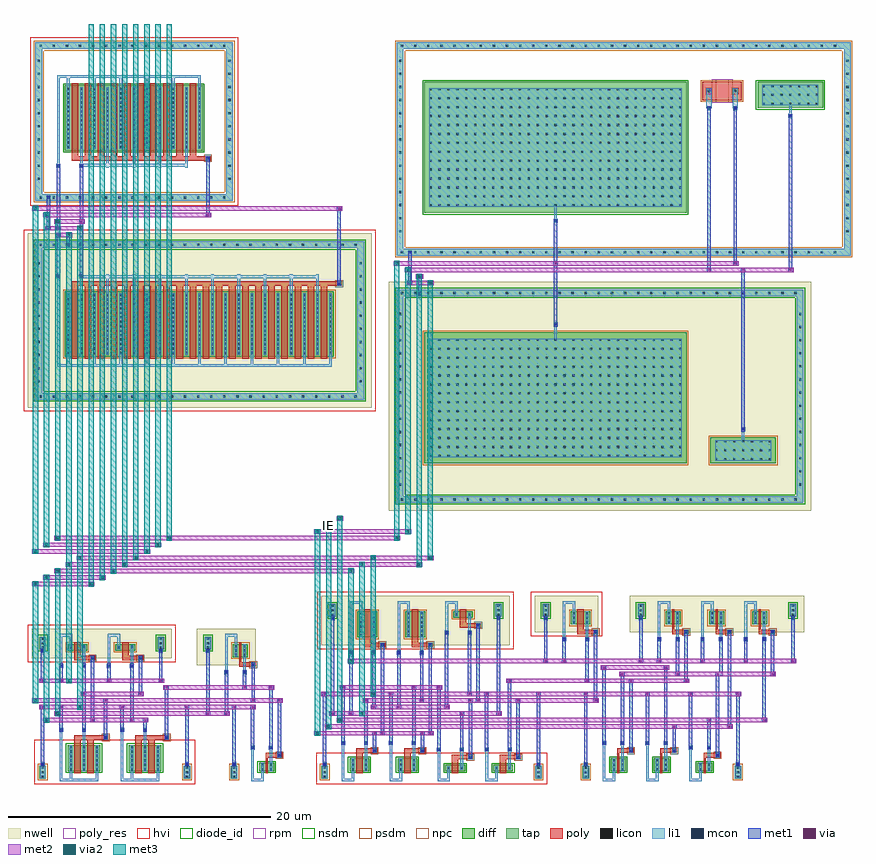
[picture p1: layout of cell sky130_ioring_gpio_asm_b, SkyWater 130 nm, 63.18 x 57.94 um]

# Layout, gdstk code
import gdstk
lib = gdstk.Library(unit=1e-6, precision=1e-09)
def R(c, l, rs):  # rectangles x0, y0, x1, y1
    for r in rs: c.add(gdstk.rectangle(r[:2], r[2:], *l))
def A(c, l, x, y, w, h, nx, ny, dx, dy):  # array of equal rectangles
    R(c, l, [(x+i*dx, y+j*dy, x+i*dx+w, y+j*dy+h) for i in range(nx) for j in range(ny)])
nwell = (64, 20)
diff = (65, 20)
tap = (65, 44)
poly_res = (66, 13)
poly = (66, 20)
licon = (66, 44)
li1 = (67, 20)
mcon = (67, 44)
met1 = (68, 20)
via = (68, 44)
met2 = (69, 20)
via2 = (69, 44)
met3 = (70, 20)
hvi = (75, 20)
diode_id = (81, 23)
rpm = (86, 20)
nsdm = (93, 44)
psdm = (94, 20)
npc = (95, 20)

sky130_ioring_gpio_ls = lib.new_cell('sky130_ioring_gpio_ls')
R(sky130_ioring_gpio_ls, nwell, [(13,9.57,17.5,12.34), (0.4,10.07,11.1,12.34)])
R(sky130_ioring_gpio_ls, diff, [(3.15,1.47,5.65,3.47), (7.8,1.47,10.3,3.47), (17.75,1.47,18.9,2.12), (15.75,10.17,16.9,11.17), (3.15,10.67,4.65,11.17), (6.8,10.67,8.3,11.17)])
R(sky130_ioring_gpio_ls, tap, [(1,0.9,1.5,1.9), (12,0.9,12.5,1.9), (15.6,0.9,16.1,1.9), (1,10.74,1.5,11.74), (10,10.74,10.5,11.74), (13.6,10.74,14.1,11.74)])
R(sky130_ioring_gpio_ls, poly, [(3.65,1.32,4.15,3.87), (4.65,1.32,5.15,3.87), (8.3,1.32,8.8,3.87), (9.3,1.32,9.8,3.87), (18.25,1.32,18.4,2.52), (18.25,2.52,19.5,2.87), (3.65,3.87,6.25,4.22), (8.3,3.87,10.9,4.22), (16.25,9.42,17.5,9.77), (16.25,9.77,16.4,11.32), (3.65,9.92,5.25,10.27), (7.3,9.92,8.9,10.27), (3.65,10.27,4.15,11.32), (7.3,10.27,7.8,11.32)])
A(sky130_ioring_gpio_ls, licon, 1.165, 0.975, 0.17, 0.17, 1, 3, 0, 0.34)
A(sky130_ioring_gpio_ls, licon, 12.165, 0.975, 0.17, 0.17, 1, 3, 0, 0.34)
A(sky130_ioring_gpio_ls, licon, 15.765, 0.975, 0.17, 0.17, 1, 3, 0, 0.34)
A(sky130_ioring_gpio_ls, licon, 3.315, 1.535, 0.17, 0.17, 3, 6, 1, 0.34)
A(sky130_ioring_gpio_ls, licon, 7.965, 1.535, 0.17, 0.17, 3, 6, 1, 0.34)
A(sky130_ioring_gpio_ls, licon, 15.915, 10.245, 0.17, 0.17, 1, 3, 0, 0.34)
A(sky130_ioring_gpio_ls, licon, 16.565, 10.245, 0.17, 0.17, 1, 3, 0, 0.34)
A(sky130_ioring_gpio_ls, licon, 1.165, 10.815, 0.17, 0.17, 1, 3, 0, 0.34)
A(sky130_ioring_gpio_ls, licon, 10.165, 10.815, 0.17, 0.17, 1, 3, 0, 0.34)
A(sky130_ioring_gpio_ls, licon, 13.765, 10.815, 0.17, 0.17, 1, 3, 0, 0.34)
R(sky130_ioring_gpio_ls, licon, [(17.915,1.54,18.085,1.71), (18.565,1.54,18.735,1.71), (17.915,1.88,18.085,2.05), (18.565,1.88,18.735,2.05), (19.215,2.61,19.385,2.78), (5.965,3.96,6.135,4.13), (10.615,3.96,10.785,4.13), (17.215,9.51,17.385,9.68), (4.965,10.01,5.135,10.18), (8.615,10.01,8.785,10.18), (3.315,10.835,3.485,11.005), (4.315,10.835,4.485,11.005), (6.965,10.835,7.135,11.005), (7.965,10.835,8.135,11.005)])
R(sky130_ioring_gpio_ls, li1, [(2.55,0.7,5.5,0.9), (2.55,0.7,2.75,4.77), (3.3,0.7,3.5,3.465), (5.3,0.7,5.5,3.465), (7.2,0.7,10.15,0.9), (7.2,0.7,7.4,4.77), (7.95,0.7,8.15,3.465), (9.95,0.7,10.15,3.465), (17.15,0.7,18.1,0.9), (17.15,0.7,17.35,3.42), (17.9,0.7,18.1,2.11), (1.05,0.95,1.45,1.85), (12.05,0.95,12.45,1.85), (15.65,0.95,16.05,1.85), (4.3,1.475,4.5,4.77), (8.95,1.475,9.15,4.77), (18.55,1.48,18.75,3.42), (1.1,1.85,1.4,2.15), (12.1,1.85,12.4,2.15), (15.7,1.85,16,2.15), (19.15,2.52,19.45,2.87), (17.1,3.12,17.4,3.42), (18.5,3.12,18.8,3.42), (18.55,3.12,18.75,3.32), (5.9,3.87,6.2,4.22), (10.55,3.87,10.85,4.22), (2.5,4.47,2.8,4.77), (4.25,4.47,4.55,4.77), (4.3,4.47,4.5,4.67), (7.15,4.47,7.45,4.77), (8.9,4.47,9.2,4.77), (8.95,4.47,9.15,4.67), (15.1,8.87,15.4,9.17), (15.15,8.87,15.35,11.94), (16.5,8.87,16.8,9.17), (16.55,8.87,16.75,11.155), (16.55,8.97,16.75,9.17), (2.5,9.37,2.8,9.67), (2.55,9.37,2.75,11.94), (4.25,9.37,4.55,9.67), (4.3,9.37,4.5,11.065), (6.15,9.37,6.45,9.67), (6.2,9.37,6.4,11.94), (7.9,9.37,8.2,9.67), (7.95,9.37,8.15,11.065), (17.15,9.42,17.45,9.77), (4.3,9.47,4.5,9.67), (7.95,9.47,8.15,9.67), (4.9,9.92,5.2,10.27), (8.55,9.92,8.85,10.27), (15.9,10.185,16.1,11.94), (1.1,10.49,1.4,10.79), (10.1,10.49,10.4,10.79), (13.7,10.49,14,10.79), (3.3,10.775,3.5,11.94), (6.95,10.775,7.15,11.94), (1.05,10.79,1.45,11.69), (10.05,10.79,10.45,11.69), (13.65,10.79,14.05,11.69), (2.55,11.74,3.5,11.94), (6.2,11.74,7.15,11.94), (15.15,11.74,16.1,11.94)])
R(sky130_ioring_gpio_ls, mcon, [(1.165,1.915,1.335,2.085), (12.165,1.915,12.335,2.085), (15.765,1.915,15.935,2.085), (19.215,2.61,19.385,2.78), (17.165,3.185,17.335,3.355), (18.565,3.185,18.735,3.355), (5.965,3.96,6.135,4.13), (10.615,3.96,10.785,4.13), (2.565,4.535,2.735,4.705), (4.315,4.535,4.485,4.705), (7.215,4.535,7.385,4.705), (8.965,4.535,9.135,4.705), (15.165,8.935,15.335,9.105), (16.565,8.935,16.735,9.105), (2.565,9.435,2.735,9.605), (4.315,9.435,4.485,9.605), (6.215,9.435,6.385,9.605), (7.965,9.435,8.135,9.605), (17.215,9.51,17.385,9.68), (4.965,10.01,5.135,10.18), (8.615,10.01,8.785,10.18), (1.165,10.555,1.335,10.725), (10.165,10.555,10.335,10.725), (13.765,10.555,13.935,10.725)])
R(sky130_ioring_gpio_ls, met1, [(1.12,1.87,1.38,6.54), (12.12,1.87,12.38,6.54), (15.72,1.87,15.98,6.54), (19.17,2.565,19.43,7.04), (17.12,3.14,17.38,6.54), (18.52,3.14,18.78,8.04), (5.92,3.915,6.18,7.04), (10.57,3.915,10.83,8.04), (2.52,4.49,2.78,6.54), (4.27,4.49,4.53,7.54), (7.17,4.49,7.43,6.54), (8.92,4.49,9.18,5.54), (4.88,5.2,5.22,5.54), (7.88,5.2,8.22,5.54), (8.88,5.2,9.22,5.54), (4.92,5.24,5.18,10.265), (7.92,5.24,8.18,9.69), (13.68,5.7,14.02,6.04), (15.08,5.7,15.42,6.04), (13.72,5.74,13.98,10.81), (15.12,5.74,15.38,9.19), (1.08,6.2,1.42,6.54), (2.48,6.2,2.82,6.54), (7.13,6.2,7.47,6.54), (12.08,6.2,12.42,6.54), (15.68,6.2,16.02,6.54), (17.08,6.2,17.42,6.54), (5.88,6.7,6.22,7.04), (17.13,6.7,17.47,7.04), (19.13,6.7,19.47,7.04), (17.17,6.74,17.43,9.765), (4.23,7.2,4.57,7.54), (8.53,7.2,8.87,7.54), (4.27,7.24,4.53,9.69), (8.57,7.24,8.83,10.265), (10.53,7.7,10.87,8.04), (16.48,7.7,16.82,8.04), (18.48,7.7,18.82,8.04), (16.52,7.74,16.78,9.19), (1.08,8.2,1.42,8.54), (2.48,8.2,2.82,8.54), (6.13,8.2,6.47,8.54), (10.08,8.2,10.42,8.54), (1.12,8.24,1.38,10.81), (2.52,8.24,2.78,9.69), (6.17,8.24,6.43,9.69), (10.12,8.24,10.38,10.81)])
R(sky130_ioring_gpio_ls, via, [(4.975,5.295,5.125,5.445), (7.975,5.295,8.125,5.445), (8.975,5.295,9.125,5.445), (13.775,5.795,13.925,5.945), (15.175,5.795,15.325,5.945), (1.175,6.295,1.325,6.445), (2.575,6.295,2.725,6.445), (7.225,6.295,7.375,6.445), (12.175,6.295,12.325,6.445), (15.775,6.295,15.925,6.445), (17.175,6.295,17.325,6.445), (5.975,6.795,6.125,6.945), (17.225,6.795,17.375,6.945), (19.225,6.795,19.375,6.945), (4.325,7.295,4.475,7.445), (8.625,7.295,8.775,7.445), (10.625,7.795,10.775,7.945), (16.575,7.795,16.725,7.945), (18.575,7.795,18.725,7.945), (1.175,8.295,1.325,8.445), (2.575,8.295,2.725,8.445), (6.225,8.295,6.375,8.445), (10.175,8.295,10.325,8.445)])
R(sky130_ioring_gpio_ls, met2, [(1.3,5.2,9.3,5.54), (2.15,5.7,15.5,6.04), (1,6.2,17.5,6.54), (0.45,6.7,19.55,7.04), (4.15,7.2,8.95,7.54), (10.45,7.7,18.9,8.04), (1,8.2,10.5,8.54)])
R(sky130_ioring_gpio_ls, via2, [(1.45,5.27,1.65,5.47), (2.3,5.77,2.5,5.97), (4,6.27,4.2,6.47), (0.6,6.77,0.8,6.97), (3.15,8.27,3.35,8.47)])
R(sky130_ioring_gpio_ls, met3, [(1.35,5.17,1.75,12.64), (2.2,5.67,2.6,12.64), (3.9,6.17,4.3,12.64), (0.5,6.67,0.9,12.64), (3.05,8.17,3.45,12.64)])
R(sky130_ioring_gpio_ls, hvi, [(0.6,0.5,12.9,3.87), (0.1,9.77,11.4,12.64)])
R(sky130_ioring_gpio_ls, nsdm, [(3.025,1.345,5.775,3.595), (7.675,1.345,10.425,3.595), (17.625,1.345,19.025,2.245), (0.875,10.615,1.625,11.865), (9.875,10.615,10.625,11.865), (13.475,10.615,14.225,11.865)])
R(sky130_ioring_gpio_ls, psdm, [(0.875,0.775,1.625,2.025), (11.875,0.775,12.625,2.025), (15.475,0.775,16.225,2.025), (15.625,10.045,17.025,11.295), (3.025,10.545,4.775,11.295), (6.675,10.545,8.425,11.295)])
R(sky130_ioring_gpio_ls, npc, [(19,2.42,19.6,2.97), (5.75,3.77,6.35,4.32), (10.4,3.77,11,4.32), (17,9.32,17.6,9.87), (4.75,9.82,5.35,10.37), (8.4,9.82,9,10.37)])

sky130_ioring_gpio_rcv = lib.new_cell('sky130_ioring_gpio_rcv')
R(sky130_ioring_gpio_rcv, nwell, [(1,11.07,15.35,14.84), (17.25,12.07,22.1,14.84), (24.5,12.07,37.8,14.84)])
A(sky130_ioring_gpio_rcv, diff, 27.25, 12.67, 1.15, 1, 3, 1, 3.3, 0)
R(sky130_ioring_gpio_rcv, diff, [(3.15,1.47,4.65,2.47), (6.8,1.47,8.3,2.47), (10.45,1.47,11.95,1.97), (14.1,1.47,15.6,1.97), (23.05,1.47,24.2,2.47), (26.35,1.47,27.5,2.47), (29.65,1.47,30.8,2.12), (3.75,11.67,5.25,13.67), (7.4,11.67,8.9,13.67), (20,12.67,21.5,13.67), (11.05,13.17,12.55,13.67)])
R(sky130_ioring_gpio_rcv, tap, [(1,0.9,1.5,1.9), (17.3,0.9,17.8,1.9), (20.9,0.9,21.4,1.9), (32.5,0.9,33,1.9), (1.6,13.24,2.1,14.24), (14.25,13.24,14.75,14.24), (17.85,13.24,18.35,14.24), (25.1,13.24,25.6,14.24), (36.7,13.24,37.2,14.24)])
A(sky130_ioring_gpio_rcv, poly, 27.75, 11.92, 1.25, 0.35, 3, 1, 3.3, 0)
A(sky130_ioring_gpio_rcv, poly, 27.75, 12.27, 0.15, 1.55, 3, 1, 3.3, 0)
R(sky130_ioring_gpio_rcv, poly, [(3.65,1.32,4.15,2.87), (7.3,1.32,7.8,2.87), (10.95,1.32,11.45,2.37), (14.6,1.32,15.1,2.37), (23.55,1.32,23.7,2.87), (26.85,1.32,27,2.87), (30.15,1.32,30.3,2.52), (10.95,2.37,12.55,2.72), (14.6,2.37,16.2,2.72), (30.15,2.52,31.4,2.87), (3.65,2.87,5.25,3.22), (7.3,2.87,8.9,3.22), (23.55,2.87,24.8,3.22), (26.85,2.87,28.1,3.22), (4.25,10.92,5.85,11.27), (7.9,10.92,9.5,11.27), (4.25,11.27,4.75,13.82), (7.9,11.27,8.4,13.82), (20.5,11.92,22.1,12.27), (20.5,12.27,21,13.82), (11.55,12.42,13.15,12.77), (11.55,12.77,12.05,13.82)])
A(sky130_ioring_gpio_rcv, licon, 1.165, 0.975, 0.17, 0.17, 1, 3, 0, 0.34)
A(sky130_ioring_gpio_rcv, licon, 17.465, 0.975, 0.17, 0.17, 1, 3, 0, 0.34)
A(sky130_ioring_gpio_rcv, licon, 21.065, 0.975, 0.17, 0.17, 1, 3, 0, 0.34)
A(sky130_ioring_gpio_rcv, licon, 32.665, 0.975, 0.17, 0.17, 1, 3, 0, 0.34)
A(sky130_ioring_gpio_rcv, licon, 3.315, 1.545, 0.17, 0.17, 1, 3, 0, 0.34)
A(sky130_ioring_gpio_rcv, licon, 4.315, 1.545, 0.17, 0.17, 1, 3, 0, 0.34)
A(sky130_ioring_gpio_rcv, licon, 6.965, 1.545, 0.17, 0.17, 1, 3, 0, 0.34)
A(sky130_ioring_gpio_rcv, licon, 7.965, 1.545, 0.17, 0.17, 1, 3, 0, 0.34)
A(sky130_ioring_gpio_rcv, licon, 23.215, 1.545, 0.17, 0.17, 1, 3, 0, 0.34)
A(sky130_ioring_gpio_rcv, licon, 23.865, 1.545, 0.17, 0.17, 1, 3, 0, 0.34)
A(sky130_ioring_gpio_rcv, licon, 26.515, 1.545, 0.17, 0.17, 1, 3, 0, 0.34)
A(sky130_ioring_gpio_rcv, licon, 27.165, 1.545, 0.17, 0.17, 1, 3, 0, 0.34)
A(sky130_ioring_gpio_rcv, licon, 3.915, 11.735, 0.17, 0.17, 1, 6, 0, 0.34)
A(sky130_ioring_gpio_rcv, licon, 4.915, 11.735, 0.17, 0.17, 1, 6, 0, 0.34)
A(sky130_ioring_gpio_rcv, licon, 7.565, 11.735, 0.17, 0.17, 1, 6, 0, 0.34)
A(sky130_ioring_gpio_rcv, licon, 8.565, 11.735, 0.17, 0.17, 1, 6, 0, 0.34)
A(sky130_ioring_gpio_rcv, licon, 28.715, 12.01, 0.17, 0.17, 3, 1, 3.3, 0)
A(sky130_ioring_gpio_rcv, licon, 20.165, 12.745, 0.17, 0.17, 1, 3, 0, 0.34)
A(sky130_ioring_gpio_rcv, licon, 21.165, 12.745, 0.17, 0.17, 1, 3, 0, 0.34)
A(sky130_ioring_gpio_rcv, licon, 27.415, 12.745, 0.17, 0.17, 1, 3, 0, 0.34)
A(sky130_ioring_gpio_rcv, licon, 28.065, 12.745, 0.17, 0.17, 1, 3, 0, 0.34)
A(sky130_ioring_gpio_rcv, licon, 30.715, 12.745, 0.17, 0.17, 1, 3, 0, 0.34)
A(sky130_ioring_gpio_rcv, licon, 31.365, 12.745, 0.17, 0.17, 1, 3, 0, 0.34)
A(sky130_ioring_gpio_rcv, licon, 34.015, 12.745, 0.17, 0.17, 1, 3, 0, 0.34)
A(sky130_ioring_gpio_rcv, licon, 34.665, 12.745, 0.17, 0.17, 1, 3, 0, 0.34)
A(sky130_ioring_gpio_rcv, licon, 1.765, 13.315, 0.17, 0.17, 1, 3, 0, 0.34)
A(sky130_ioring_gpio_rcv, licon, 14.415, 13.315, 0.17, 0.17, 1, 3, 0, 0.34)
A(sky130_ioring_gpio_rcv, licon, 18.015, 13.315, 0.17, 0.17, 1, 3, 0, 0.34)
A(sky130_ioring_gpio_rcv, licon, 25.265, 13.315, 0.17, 0.17, 1, 3, 0, 0.34)
A(sky130_ioring_gpio_rcv, licon, 36.865, 13.315, 0.17, 0.17, 1, 3, 0, 0.34)
R(sky130_ioring_gpio_rcv, licon, [(29.815,1.54,29.985,1.71), (30.465,1.54,30.635,1.71), (10.615,1.635,10.785,1.805), (11.615,1.635,11.785,1.805), (14.265,1.635,14.435,1.805), (15.265,1.635,15.435,1.805), (29.815,1.88,29.985,2.05), (30.465,1.88,30.635,2.05), (12.265,2.46,12.435,2.63), (15.915,2.46,16.085,2.63), (31.115,2.61,31.285,2.78), (4.965,2.96,5.135,3.13), (8.615,2.96,8.785,3.13), (24.515,2.96,24.685,3.13), (27.815,2.96,27.985,3.13), (5.565,11.01,5.735,11.18), (9.215,11.01,9.385,11.18), (21.815,12.01,21.985,12.18), (12.865,12.51,13.035,12.68), (11.215,13.335,11.385,13.505), (12.215,13.335,12.385,13.505)])
A(sky130_ioring_gpio_rcv, li1, 2.55, 0.7, 0.95, 0.2, 4, 1, 3.65, 0)
A(sky130_ioring_gpio_rcv, li1, 22.45, 0.7, 0.95, 0.2, 3, 1, 3.3, 0)
A(sky130_ioring_gpio_rcv, li1, 26.65, 11.37, 0.2, 3.07, 3, 1, 3.3, 0)
A(sky130_ioring_gpio_rcv, li1, 28.05, 11.37, 0.2, 2.285, 3, 1, 3.3, 0)
A(sky130_ioring_gpio_rcv, li1, 28.05, 11.47, 0.2, 0.2, 3, 1, 3.3, 0)
A(sky130_ioring_gpio_rcv, li1, 28.65, 11.92, 0.3, 0.35, 3, 1, 3.3, 0)
A(sky130_ioring_gpio_rcv, li1, 27.4, 12.685, 0.2, 1.755, 3, 1, 3.3, 0)
A(sky130_ioring_gpio_rcv, li1, 3.15, 14.24, 0.95, 0.2, 3, 1, 3.65, 0)
A(sky130_ioring_gpio_rcv, li1, 26.65, 14.24, 0.95, 0.2, 3, 1, 3.3, 0)
R(sky130_ioring_gpio_rcv, li1, [(2.55,0.7,2.75,3.77), (3.3,0.7,3.5,2.455), (6.2,0.7,6.4,3.77), (6.95,0.7,7.15,2.455), (9.85,0.7,10.05,3.27), (10.6,0.7,10.8,1.865), (13.5,0.7,13.7,3.27), (14.25,0.7,14.45,1.865), (22.45,0.7,22.65,3.77), (23.2,0.7,23.4,2.455), (25.75,0.7,25.95,3.77), (26.5,0.7,26.7,2.455), (29.05,0.7,29.25,3.42), (29.8,0.7,30,2.11), (1.05,0.95,1.45,1.85), (17.35,0.95,17.75,1.85), (20.95,0.95,21.35,1.85), (32.55,0.95,32.95,1.85), (30.45,1.48,30.65,3.42), (4.3,1.485,4.5,3.77), (7.95,1.485,8.15,3.77), (23.85,1.485,24.05,3.77), (27.15,1.485,27.35,3.77), (11.6,1.575,11.8,3.27), (15.25,1.575,15.45,3.27), (1.1,1.85,1.4,2.15), (17.4,1.85,17.7,2.15), (21,1.85,21.3,2.15), (32.6,1.85,32.9,2.15), (12.2,2.37,12.5,2.72), (15.85,2.37,16.15,2.72), (31.05,2.52,31.35,2.87), (4.9,2.87,5.2,3.22), (8.55,2.87,8.85,3.22), (24.45,2.87,24.75,3.22), (27.75,2.87,28.05,3.22), (9.8,2.97,10.1,3.27), (11.55,2.97,11.85,3.27), (11.6,2.97,11.8,3.17), (13.45,2.97,13.75,3.27), (15.2,2.97,15.5,3.27), (15.25,2.97,15.45,3.17), (29,3.12,29.3,3.42), (30.4,3.12,30.7,3.42), (30.45,3.12,30.65,3.32), (2.5,3.47,2.8,3.77), (4.25,3.47,4.55,3.77), (4.3,3.47,4.5,3.67), (6.15,3.47,6.45,3.77), (7.9,3.47,8.2,3.77), (7.95,3.47,8.15,3.67), (22.4,3.47,22.7,3.77), (23.8,3.47,24.1,3.77), (23.85,3.47,24.05,3.67), (25.7,3.47,26,3.77), (27.1,3.47,27.4,3.77), (27.15,3.47,27.35,3.67), (3.1,10.37,3.4,10.67), (3.15,10.37,3.35,14.44), (4.85,10.37,5.15,10.67), (4.9,10.37,5.1,13.665), (6.75,10.37,7.05,10.67), (6.8,10.37,7,14.44), (8.5,10.37,8.8,10.67), (8.55,10.37,8.75,13.665), (4.9,10.47,5.1,10.67), (8.55,10.47,8.75,10.67), (5.5,10.92,5.8,11.27), (9.15,10.92,9.45,11.27), (19.35,11.37,19.65,11.67), (19.4,11.37,19.6,14.44), (21.1,11.37,21.4,11.67), (21.15,11.37,21.35,13.655), (26.6,11.37,26.9,11.67), (28,11.37,28.3,11.67), (29.9,11.37,30.2,11.67), (31.3,11.37,31.6,11.67), (33.2,11.37,33.5,11.67), (34.6,11.37,34.9,11.67), (21.15,11.47,21.35,11.67), (3.9,11.675,4.1,14.44), (7.55,11.675,7.75,14.44), (10.4,11.87,10.7,12.17), (10.45,11.87,10.65,14.44), (12.15,11.87,12.45,12.17), (12.2,11.87,12.4,13.565), (21.75,11.92,22.05,12.27), (12.2,11.97,12.4,12.17), (12.8,12.42,13.1,12.77), (20.15,12.685,20.35,14.44), (1.7,12.99,2,13.29), (14.35,12.99,14.65,13.29), (17.95,12.99,18.25,13.29), (25.2,12.99,25.5,13.29), (36.8,12.99,37.1,13.29), (11.2,13.275,11.4,14.44), (1.65,13.29,2.05,14.19), (14.3,13.29,14.7,14.19), (17.9,13.29,18.3,14.19), (25.15,13.29,25.55,14.19), (36.75,13.29,37.15,14.19), (19.4,14.24,20.35,14.44)])
A(sky130_ioring_gpio_rcv, mcon, 28.715, 12.01, 0.17, 0.17, 3, 1, 3.3, 0)
R(sky130_ioring_gpio_rcv, mcon, [(1.165,1.915,1.335,2.085), (17.465,1.915,17.635,2.085), (21.065,1.915,21.235,2.085), (32.665,1.915,32.835,2.085), (12.265,2.46,12.435,2.63), (15.915,2.46,16.085,2.63), (31.115,2.61,31.285,2.78), (4.965,2.96,5.135,3.13), (8.615,2.96,8.785,3.13), (24.515,2.96,24.685,3.13), (27.815,2.96,27.985,3.13), (9.865,3.035,10.035,3.205), (11.615,3.035,11.785,3.205), (13.515,3.035,13.685,3.205), (15.265,3.035,15.435,3.205), (29.065,3.185,29.235,3.355), (30.465,3.185,30.635,3.355), (2.565,3.535,2.735,3.705), (4.315,3.535,4.485,3.705), (6.215,3.535,6.385,3.705), (7.965,3.535,8.135,3.705), (22.465,3.535,22.635,3.705), (23.865,3.535,24.035,3.705), (25.765,3.535,25.935,3.705), (27.165,3.535,27.335,3.705), (3.165,10.435,3.335,10.605), (4.915,10.435,5.085,10.605), (6.815,10.435,6.985,10.605), (8.565,10.435,8.735,10.605), (5.565,11.01,5.735,11.18), (9.215,11.01,9.385,11.18), (19.415,11.435,19.585,11.605), (21.165,11.435,21.335,11.605), (26.665,11.435,26.835,11.605), (28.065,11.435,28.235,11.605), (29.965,11.435,30.135,11.605), (31.365,11.435,31.535,11.605), (33.265,11.435,33.435,11.605), (34.665,11.435,34.835,11.605), (10.465,11.935,10.635,12.105), (12.215,11.935,12.385,12.105), (21.815,12.01,21.985,12.18), (12.865,12.51,13.035,12.68), (1.765,13.055,1.935,13.225), (14.415,13.055,14.585,13.225), (18.015,13.055,18.185,13.225), (25.265,13.055,25.435,13.225), (36.865,13.055,37.035,13.225)])
A(sky130_ioring_gpio_rcv, met1, 26.58, 9.7, 0.34, 0.34, 3, 1, 3.3, 0)
A(sky130_ioring_gpio_rcv, met1, 26.62, 9.74, 0.26, 1.95, 3, 1, 3.3, 0)
R(sky130_ioring_gpio_rcv, met1, [(1.12,1.87,1.38,7.54), (17.42,1.87,17.68,7.54), (21.02,1.87,21.28,7.54), (32.62,1.87,32.88,7.54), (12.22,2.415,12.48,7.04), (15.87,2.415,16.13,7.04), (31.07,2.565,31.33,9.04), (4.92,2.915,5.18,4.54), (8.57,2.915,8.83,4.54), (24.47,2.915,24.73,8.54), (27.77,2.915,28.03,5.04), (9.82,2.99,10.08,8.04), (11.57,2.99,11.83,6.04), (13.47,2.99,13.73,7.54), (15.22,2.99,15.48,8.54), (29.02,3.14,29.28,7.54), (30.42,3.14,30.68,5.54), (2.52,3.49,2.78,8.04), (4.27,3.49,4.53,7.04), (6.17,3.49,6.43,7.54), (7.92,3.49,8.18,8.04), (22.42,3.49,22.68,9.54), (23.82,3.49,24.08,9.04), (25.72,3.49,25.98,7.54), (27.12,3.49,27.38,9.54), (4.88,4.2,5.22,4.54), (5.48,4.2,5.82,4.54), (8.53,4.2,8.87,4.54), (9.13,4.2,9.47,4.54), (5.52,4.24,5.78,11.265), (9.17,4.24,9.43,11.265), (27.73,4.7,28.07,5.04), (31.93,4.7,32.27,5.04), (31.97,4.74,32.23,12.265), (30.38,5.2,30.72,5.54), (34.58,5.2,34.92,5.54), (34.62,5.24,34.88,11.69), (1.68,5.7,2.02,6.04), (3.08,5.7,3.42,6.04), (11.53,5.7,11.87,6.04), (14.33,5.7,14.67,6.04), (1.72,5.74,1.98,13.31), (3.12,5.74,3.38,10.69), (14.37,5.74,14.63,13.31), (4.83,6.2,5.17,6.54), (6.73,6.2,7.07,6.54), (10.38,6.2,10.72,6.54), (4.87,6.24,5.13,10.69), (6.77,6.24,7.03,10.69), (10.42,6.24,10.68,12.19), (4.23,6.7,4.57,7.04), (8.48,6.7,8.82,7.04), (12.18,6.7,12.52,7.04), (12.78,6.7,13.12,7.04), (15.83,6.7,16.17,7.04), (21.73,6.7,22.07,7.04), (8.52,6.74,8.78,10.69), (12.82,6.74,13.08,12.765), (21.77,6.74,22.03,12.265), (1.08,7.2,1.42,7.54), (6.13,7.2,6.47,7.54), (12.13,7.2,12.47,7.54), (13.43,7.2,13.77,7.54), (17.38,7.2,17.72,7.54), (20.98,7.2,21.32,7.54), (25.68,7.2,26.02,7.54), (28.98,7.2,29.32,7.54), (32.58,7.2,32.92,7.54), (12.17,7.24,12.43,12.19), (2.48,7.7,2.82,8.04), (7.88,7.7,8.22,8.04), (9.78,7.7,10.12,8.04), (15.18,8.2,15.52,8.54), (21.08,8.2,21.42,8.54), (24.43,8.2,24.77,8.54), (28.63,8.2,28.97,8.54), (21.12,8.24,21.38,11.69), (28.67,8.24,28.93,12.265), (23.78,8.7,24.12,9.04), (27.98,8.7,28.32,9.04), (31.03,8.7,31.37,9.04), (35.23,8.7,35.57,9.04), (28.02,8.74,28.28,11.69), (31.32,8.74,31.58,11.69), (35.27,8.74,35.53,12.265), (22.38,9.2,22.72,9.54), (27.08,9.2,27.42,9.54), (17.93,9.7,18.27,10.04), (19.33,9.7,19.67,10.04), (25.18,9.7,25.52,10.04), (36.78,9.7,37.12,10.04), (17.97,9.74,18.23,13.31), (19.37,9.74,19.63,11.69), (25.22,9.74,25.48,13.31), (36.82,9.74,37.08,13.31)])
A(sky130_ioring_gpio_rcv, via, 26.675, 9.795, 0.15, 0.15, 3, 1, 3.3, 0)
R(sky130_ioring_gpio_rcv, via, [(4.975,4.295,5.125,4.445), (5.575,4.295,5.725,4.445), (8.625,4.295,8.775,4.445), (9.225,4.295,9.375,4.445), (27.825,4.795,27.975,4.945), (32.025,4.795,32.175,4.945), (30.475,5.295,30.625,5.445), (34.675,5.295,34.825,5.445), (1.775,5.795,1.925,5.945), (3.175,5.795,3.325,5.945), (11.625,5.795,11.775,5.945), (14.425,5.795,14.575,5.945), (4.925,6.295,5.075,6.445), (6.825,6.295,6.975,6.445), (10.475,6.295,10.625,6.445), (4.325,6.795,4.475,6.945), (8.575,6.795,8.725,6.945), (12.275,6.795,12.425,6.945), (12.875,6.795,13.025,6.945), (15.925,6.795,16.075,6.945), (21.825,6.795,21.975,6.945), (1.175,7.295,1.325,7.445), (6.225,7.295,6.375,7.445), (12.225,7.295,12.375,7.445), (13.525,7.295,13.675,7.445), (17.475,7.295,17.625,7.445), (21.075,7.295,21.225,7.445), (25.775,7.295,25.925,7.445), (29.075,7.295,29.225,7.445), (32.675,7.295,32.825,7.445), (2.575,7.795,2.725,7.945), (7.975,7.795,8.125,7.945), (9.875,7.795,10.025,7.945), (15.275,8.295,15.425,8.445), (21.175,8.295,21.325,8.445), (24.525,8.295,24.675,8.445), (28.725,8.295,28.875,8.445), (23.875,8.795,24.025,8.945), (28.075,8.795,28.225,8.945), (31.125,8.795,31.275,8.945), (35.325,8.795,35.475,8.945), (22.475,9.295,22.625,9.445), (27.175,9.295,27.325,9.445), (18.025,9.795,18.175,9.945), (19.425,9.795,19.575,9.945), (25.275,9.795,25.425,9.945), (36.875,9.795,37.025,9.945)])
R(sky130_ioring_gpio_rcv, met2, [(0.45,4.2,9.55,4.54), (1.3,4.7,32.35,5.04), (2.15,5.2,35,5.54), (1.6,5.7,14.75,6.04), (4.75,6.2,10.8,6.54), (4.15,6.7,22.15,7.04), (1,7.2,33,7.54), (2.4,7.7,10.2,8.04), (15.1,8.2,29.05,8.54), (23.7,8.7,35.65,9.04), (22.3,9.2,27.5,9.54), (3,9.7,37.2,10.04)])
R(sky130_ioring_gpio_rcv, via2, [(0.6,4.27,0.8,4.47), (1.45,4.77,1.65,4.97), (2.3,5.27,2.5,5.47), (4,5.77,4.2,5.97), (4.85,7.27,5.05,7.47), (3.15,9.77,3.35,9.97)])
R(sky130_ioring_gpio_rcv, met3, [(0.5,4.17,0.9,15.14), (1.35,4.67,1.75,15.14), (2.2,5.17,2.6,15.14), (3.9,5.67,4.3,15.14), (4.75,7.17,5.15,15.14), (3.05,9.67,3.45,15.14)])
R(sky130_ioring_gpio_rcv, hvi, [(0.6,0.5,18.2,2.87), (0.7,10.77,15.65,15.14), (16.95,11.77,22.4,15.14)])
R(sky130_ioring_gpio_rcv, nsdm, [(3.025,1.345,4.775,2.595), (6.675,1.345,8.425,2.595), (10.325,1.345,12.075,2.095), (13.975,1.345,15.725,2.095), (22.925,1.345,24.325,2.595), (26.225,1.345,27.625,2.595), (29.525,1.345,30.925,2.245), (1.475,13.115,2.225,14.365), (14.125,13.115,14.875,14.365), (17.725,13.115,18.475,14.365), (24.975,13.115,25.725,14.365), (36.575,13.115,37.325,14.365)])
A(sky130_ioring_gpio_rcv, psdm, 27.125, 12.545, 1.4, 1.25, 3, 1, 3.3, 0)
R(sky130_ioring_gpio_rcv, psdm, [(0.875,0.775,1.625,2.025), (17.175,0.775,17.925,2.025), (20.775,0.775,21.525,2.025), (32.375,0.775,33.125,2.025), (3.625,11.545,5.375,13.795), (7.275,11.545,9.025,13.795), (19.875,12.545,21.625,13.795), (10.925,13.045,12.675,13.795)])
A(sky130_ioring_gpio_rcv, npc, 28.5, 11.82, 0.6, 0.55, 3, 1, 3.3, 0)
R(sky130_ioring_gpio_rcv, npc, [(12.05,2.27,12.65,2.82), (15.7,2.27,16.3,2.82), (30.9,2.42,31.5,2.97), (4.75,2.77,5.35,3.32), (8.4,2.77,9,3.32), (24.3,2.77,24.9,3.32), (27.6,2.77,28.2,3.32), (5.35,10.82,5.95,11.37), (9,10.82,9.6,11.37), (21.6,11.82,22.2,12.37), (12.65,12.32,13.25,12.87)])

sky130_ioring_gpio_drv = lib.new_cell('sky130_ioring_gpio_drv')
R(sky130_ioring_gpio_drv, nwell, [(0.1,15.27,26.35,28.54)])
R(sky130_ioring_gpio_drv, diff, [(2.95,3.97,13.45,8.97), (2.95,19.67,23.45,24.67)])
R(sky130_ioring_gpio_drv, tap, [(0.7,0.7,15.75,1.2), (0.7,1.2,1.2,12.27), (15.25,1.2,15.75,12.27), (0.7,12.27,15.75,12.77), (0.7,15.87,25.75,16.37), (0.7,16.37,1.2,27.44), (25.25,16.37,25.75,27.44), (0.7,27.44,25.75,27.94)])
A(sky130_ioring_gpio_drv, poly, 3.45, 3.82, 0.5, 5.55, 10, 1, 1, 0)
A(sky130_ioring_gpio_drv, poly, 3.45, 19.27, 0.5, 5.55, 20, 1, 1, 0)
R(sky130_ioring_gpio_drv, poly, [(3.45,9.37,14.05,9.72), (3.45,18.92,24.05,19.27)])
A(sky130_ioring_gpio_drv, licon, 1.015, 0.865, 0.17, 0.17, 15, 2, 1, 11.57)
A(sky130_ioring_gpio_drv, licon, 0.865, 2.015, 0.17, 0.17, 1, 10, 0, 1)
A(sky130_ioring_gpio_drv, licon, 15.415, 2.015, 0.17, 0.17, 1, 10, 0, 1)
A(sky130_ioring_gpio_drv, licon, 3.115, 4.175, 0.17, 0.17, 11, 14, 1, 0.34)
A(sky130_ioring_gpio_drv, licon, 1.015, 16.035, 0.17, 0.17, 25, 2, 1, 11.57)
A(sky130_ioring_gpio_drv, licon, 0.865, 17.455, 0.17, 0.17, 1, 10, 0, 1)
A(sky130_ioring_gpio_drv, licon, 25.415, 17.455, 0.17, 0.17, 1, 10, 0, 1)
A(sky130_ioring_gpio_drv, licon, 3.115, 19.875, 0.17, 0.17, 21, 14, 1, 0.34)
R(sky130_ioring_gpio_drv, licon, [(13.765,9.46,13.935,9.63), (23.765,19.01,23.935,19.18)])
A(sky130_ioring_gpio_drv, li1, 3.1, 3.2, 0.2, 5.625, 6, 1, 2, 0)
A(sky130_ioring_gpio_drv, li1, 4.1, 4.115, 0.2, 6.155, 5, 1, 2, 0)
A(sky130_ioring_gpio_drv, li1, 4.1, 18.37, 0.2, 6.155, 10, 1, 2, 0)
A(sky130_ioring_gpio_drv, li1, 3.1, 19.815, 0.2, 5.625, 11, 1, 2, 0)
R(sky130_ioring_gpio_drv, li1, [(0.7,0.7,15.75,1.2), (0.7,1.2,1.2,12.27), (15.25,1.2,15.75,12.27), (2.35,3.2,13.3,3.4), (2.35,3.2,2.55,10.27), (13.7,9.37,14,9.72), (2.3,9.97,2.6,10.27), (4.05,9.97,4.35,10.27), (4.1,9.97,12.3,10.17), (0.7,12.27,15.75,12.77), (0.7,15.87,25.75,16.37), (0.7,16.37,1.2,27.44), (25.25,16.37,25.75,27.44), (2.3,18.37,2.6,18.67), (2.35,18.37,2.55,25.44), (4.05,18.37,4.35,18.67), (4.1,18.47,22.3,18.67), (23.7,18.92,24,19.27), (2.35,25.24,23.3,25.44), (0.7,27.44,25.75,27.94)])
R(sky130_ioring_gpio_drv, mcon, [(13.765,9.46,13.935,9.63), (2.365,10.035,2.535,10.205), (4.115,10.035,4.285,10.205), (1.615,12.435,1.785,12.605), (3.115,16.035,3.285,16.205), (2.365,18.435,2.535,18.605), (4.115,18.435,4.285,18.605), (23.765,19.01,23.935,19.18)])
R(sky130_ioring_gpio_drv, met1, [(13.72,9.415,13.98,14.04), (2.32,9.99,2.58,15.04), (4.07,9.99,4.33,14.54), (1.57,12.39,1.83,15.04), (23.68,13.2,24.02,13.54), (23.72,13.24,23.98,19.265), (13.68,13.7,14.02,14.04), (4.03,14.2,4.37,14.54), (4.07,14.24,4.33,18.69), (1.53,14.7,1.87,15.04), (2.28,14.7,2.62,15.04), (2.28,15.2,2.62,15.54), (3.03,15.2,3.37,15.54), (2.32,15.24,2.58,18.69), (3.07,15.24,3.33,16.29)])
R(sky130_ioring_gpio_drv, via, [(23.775,13.295,23.925,13.445), (13.775,13.795,13.925,13.945), (4.125,14.295,4.275,14.445), (1.625,14.795,1.775,14.945), (2.375,14.795,2.525,14.945), (2.375,15.295,2.525,15.445), (3.125,15.295,3.275,15.445)])
R(sky130_ioring_gpio_drv, met2, [(0.45,13.2,24.1,13.54), (1.3,13.7,14.1,14.04), (2.15,14.2,4.45,14.54), (1.45,14.7,4.35,15.04), (2.2,15.2,3.5,15.54)])
R(sky130_ioring_gpio_drv, via2, [(0.6,13.27,0.8,13.47), (1.45,13.77,1.65,13.97), (2.3,14.27,2.5,14.47), (4,14.77,4.2,14.97), (3.15,15.27,3.35,15.47)])
R(sky130_ioring_gpio_drv, met3, [(0.5,13.17,0.9,28.64), (1.35,13.67,1.75,28.64), (2.2,14.17,2.6,28.64), (3.9,14.67,4.3,28.64), (3.05,15.17,3.45,28.64)])
R(sky130_ioring_gpio_drv, hvi, [(0.3,0.3,16.15,13.17), (-0.2,14.97,26.65,28.84)])
R(sky130_ioring_gpio_drv, nsdm, [(2.825,3.845,13.575,9.095), (0.575,15.745,25.875,16.495), (0.575,16.245,1.325,27.565), (25.125,16.245,25.875,27.565), (0.575,27.315,25.875,28.065)])
R(sky130_ioring_gpio_drv, psdm, [(0.575,0.575,15.875,1.325), (0.575,1.075,1.325,12.395), (15.125,1.075,15.875,12.395), (0.575,12.145,15.875,12.895), (2.825,19.545,23.575,24.795)])
R(sky130_ioring_gpio_drv, npc, [(13.55,9.27,14.15,9.82), (23.55,18.82,24.15,19.37)])

sky130_ioring_gpio_esd = lib.new_cell('sky130_ioring_gpio_esd')
R(sky130_ioring_gpio_esd, nwell, [(0.1,18.95,32.3,36.4)])
R(sky130_ioring_gpio_esd, diff, [(2.8,3.7,22.8,13.7), (28.2,3.7,33.2,5.7), (2.8,22.8,22.8,32.8), (24.6,30.8,29.6,32.8)])
R(sky130_ioring_gpio_esd, tap, [(0.7,0.7,35.3,1.2), (0.7,1.2,1.2,16.45), (34.8,1.2,35.3,16.45), (0.7,16.45,35.3,16.95), (0.7,19.55,31.7,20.05), (0.7,20.05,1.2,35.3), (31.2,20.05,31.7,35.3), (0.7,35.3,31.7,35.8)])
R(sky130_ioring_gpio_esd, poly_res, [(25,3.6,26,5.21)])
R(sky130_ioring_gpio_esd, poly, [(24,3.7,27,5.11)])
A(sky130_ioring_gpio_esd, licon, 1.015, 0.865, 0.17, 0.17, 34, 2, 1, 15.75)
A(sky130_ioring_gpio_esd, licon, 0.865, 2.015, 0.17, 0.17, 1, 14, 0, 1)
A(sky130_ioring_gpio_esd, licon, 34.965, 2.015, 0.17, 0.17, 1, 14, 0, 1)
A(sky130_ioring_gpio_esd, licon, 28.575, 3.935, 0.17, 0.17, 7, 3, 0.68, 0.68)
A(sky130_ioring_gpio_esd, licon, 3.195, 4.195, 0.17, 0.17, 29, 14, 0.68, 0.68)
A(sky130_ioring_gpio_esd, licon, 1.015, 19.715, 0.17, 0.17, 31, 2, 1, 15.75)
A(sky130_ioring_gpio_esd, licon, 0.865, 21.315, 0.17, 0.17, 1, 14, 0, 1)
A(sky130_ioring_gpio_esd, licon, 31.365, 21.315, 0.17, 0.17, 1, 14, 0, 1)
A(sky130_ioring_gpio_esd, licon, 3.195, 23.295, 0.17, 0.17, 29, 14, 0.68, 0.68)
A(sky130_ioring_gpio_esd, licon, 24.975, 31.035, 0.17, 0.17, 7, 3, 0.68, 0.68)
R(sky130_ioring_gpio_esd, licon, [(24.415,4.32,24.585,4.49), (26.415,4.32,26.585,4.49)])
R(sky130_ioring_gpio_esd, li1, [(0.7,0.7,35.3,1.2), (0.7,1.2,1.2,16.45), (34.8,1.2,35.3,16.45), (28.56,3.92,32.84,5.48), (3.18,4.18,22.42,13.22), (24.3,4.205,24.7,5.71), (26.3,4.205,26.7,5.71), (30.6,5.38,30.8,6.3), (24.35,5.56,24.65,5.86), (26.35,5.56,26.65,5.86), (30.55,6.15,30.85,6.45), (12.7,13.12,12.9,14.3), (12.65,14.15,12.95,14.45), (0.7,16.45,35.3,16.95), (0.7,19.55,31.7,20.05), (0.7,20.05,1.2,35.3), (31.2,20.05,31.7,35.3), (12.65,22.05,12.95,22.35), (12.7,22.2,12.9,23.38), (3.18,23.28,22.42,32.32), (26.95,30.05,27.25,30.35), (27,30.2,27.2,31.12), (24.96,31.02,29.24,32.58), (0.7,35.3,31.7,35.8)])
R(sky130_ioring_gpio_esd, mcon, [(24.415,5.625,24.585,5.795), (26.415,5.625,26.585,5.795), (30.615,6.215,30.785,6.385), (12.715,14.215,12.885,14.385), (1.615,16.615,1.785,16.785), (2.365,19.715,2.535,19.885), (12.715,22.115,12.885,22.285), (27.015,30.115,27.185,30.285)])
R(sky130_ioring_gpio_esd, met1, [(24.37,5.58,24.63,18.22), (26.37,5.58,26.63,17.72), (30.57,6.17,30.83,18.22), (12.67,14.17,12.93,17.72), (1.57,16.57,1.83,19.22), (12.63,17.38,12.97,17.72), (26.33,17.38,26.67,17.72), (12.67,17.42,12.93,22.37), (24.33,17.88,24.67,18.22), (26.93,17.88,27.27,18.22), (30.53,17.88,30.87,18.22), (26.97,17.92,27.23,30.37), (2.28,18.38,2.62,18.72), (2.32,18.42,2.58,19.97), (1.53,18.88,1.87,19.22)])
R(sky130_ioring_gpio_esd, via, [(12.725,17.475,12.875,17.625), (26.425,17.475,26.575,17.625), (24.425,17.975,24.575,18.125), (27.025,17.975,27.175,18.125), (30.625,17.975,30.775,18.125), (2.375,18.475,2.525,18.625), (1.625,18.975,1.775,19.125)])
R(sky130_ioring_gpio_esd, met2, [(0.45,17.38,26.75,17.72), (1.3,17.88,30.95,18.22), (2.15,18.38,2.7,18.72), (1.45,18.88,3.5,19.22)])
R(sky130_ioring_gpio_esd, via2, [(0.6,17.45,0.8,17.65), (1.45,17.95,1.65,18.15), (2.3,18.45,2.5,18.65), (3.15,18.95,3.35,19.15)])
R(sky130_ioring_gpio_esd, met3, [(0.5,17.35,0.9,36.5), (1.35,17.85,1.75,36.5), (2.2,18.35,2.6,36.5), (3.05,18.85,3.45,36.5)])
R(sky130_ioring_gpio_esd, diode_id, [(2.8,3.7,22.8,13.7), (28.2,3.7,33.2,5.7), (2.8,22.8,22.8,32.8), (24.6,30.8,29.6,32.8)])
R(sky130_ioring_gpio_esd, rpm, [(24.7,3.5,26.3,5.31)])
R(sky130_ioring_gpio_esd, nsdm, [(2.675,3.575,22.925,13.825), (28.075,3.575,33.325,5.825), (0.575,19.425,31.825,20.175), (0.575,19.925,1.325,35.425), (31.075,19.925,31.825,35.425), (0.575,35.175,31.825,35.925)])
R(sky130_ioring_gpio_esd, psdm, [(0.575,0.575,35.425,1.325), (0.575,1.075,1.325,16.575), (34.675,1.075,35.425,16.575), (23.875,3.575,27.125,5.235), (0.575,16.325,35.425,17.075), (2.675,22.675,22.925,32.925), (24.475,30.675,29.725,32.925)])
R(sky130_ioring_gpio_esd, npc, [(24.25,4.155,24.75,4.655), (26.25,4.155,26.75,4.655)])

sky130_ioring_gpio_asm_b = lib.new_cell('sky130_ioring_gpio_asm_b')
R(sky130_ioring_gpio_asm_b, met2, [(1.15,16.27,5.9,16.61), (2,16.77,6.75,17.11), (2.85,17.27,25.7,17.61), (3.7,17.77,30.9,18.11), (4.55,18.27,31.75,18.61), (1.15,18.77,10.15,19.11), (2,19.27,11,19.61), (2.85,19.77,29.2,20.11), (22.65,20.27,30.05,20.61), (23.5,20.77,24,21.11), (24.35,21.27,24.85,21.61)])
R(sky130_ioring_gpio_asm_b, via2, [(1.3,16.34,1.5,16.54), (5.55,16.34,5.75,16.54), (2.15,16.84,2.35,17.04), (6.4,16.84,6.6,17.04), (3,17.34,3.2,17.54), (7.25,17.34,7.45,17.54), (25.35,17.34,25.55,17.54), (3.85,17.84,4.05,18.04), (8.1,17.84,8.3,18.04), (26.2,17.84,26.4,18.04), (30.55,17.84,30.75,18.04), (4.7,18.34,4.9,18.54), (8.95,18.34,9.15,18.54), (27.05,18.34,27.25,18.54), (31.4,18.34,31.6,18.54), (1.3,18.84,1.5,19.04), (9.8,18.84,10,19.04), (2.15,19.34,2.35,19.54), (10.65,19.34,10.85,19.54), (3,19.84,3.2,20.04), (11.5,19.84,11.7,20.04), (28.85,19.84,29.05,20.04), (22.8,20.34,23,20.54), (29.7,20.34,29.9,20.54), (23.65,20.84,23.85,21.04), (24.5,21.34,24.7,21.54)])
R(sky130_ioring_gpio_asm_b, met3, [(1.2,13.14,1.6,16.64), (2.05,13.14,2.45,17.14), (2.9,13.14,3.3,17.64), (3.75,13.14,4.15,18.14), (4.6,13.14,5,18.64), (22.7,15.64,23.1,20.64), (23.55,15.64,23.95,21.14), (24.4,15.64,24.8,21.64), (25.25,15.64,25.65,17.64), (26.1,15.64,26.5,18.14), (26.95,15.64,27.35,18.64), (5.45,16.24,5.85,59.14), (6.3,16.74,6.7,59.14), (7.15,17.24,7.55,59.14), (3.75,17.74,4.15,30), (8,17.74,8.4,59.14), (30.45,17.74,30.85,22.14), (4.6,18.24,5,30), (8.85,18.24,9.25,59.14), (31.3,18.24,31.7,22.14), (1.2,18.74,1.6,30), (9.7,18.74,10.1,59.14), (2.05,19.24,2.45,30), (10.55,19.24,10.95,59.14), (2.9,19.74,3.3,30), (11.4,19.74,11.8,59.14), (28.75,19.74,29.15,22.14), (29.6,20.24,30,22.14)])
sky130_ioring_gpio_asm_b.add(gdstk.Reference(sky130_ioring_gpio_ls, (0.7,0.7)))
sky130_ioring_gpio_asm_b.add(gdstk.Reference(sky130_ioring_gpio_rcv, (22.2,0.7)))
sky130_ioring_gpio_asm_b.add(gdstk.Reference(sky130_ioring_gpio_drv, (0.7,58.44), x_reflection=True))
sky130_ioring_gpio_asm_b.add(gdstk.Reference(sky130_ioring_gpio_esd, (28.25,58.44), x_reflection=True))
sky130_ioring_gpio_asm_b.add(gdstk.Label('IE', (23.75,20.94), layer=69, texttype=5))
sky130_ioring_gpio_asm_b.add(gdstk.Label('RXG', (22.9,20.44), layer=69, texttype=5))
sky130_ioring_gpio_asm_b.add(gdstk.Label('Y', (24.6,21.44), layer=69, texttype=5))

lib.write_gds('sky130_ioring_gpio_asm_b.gds')
